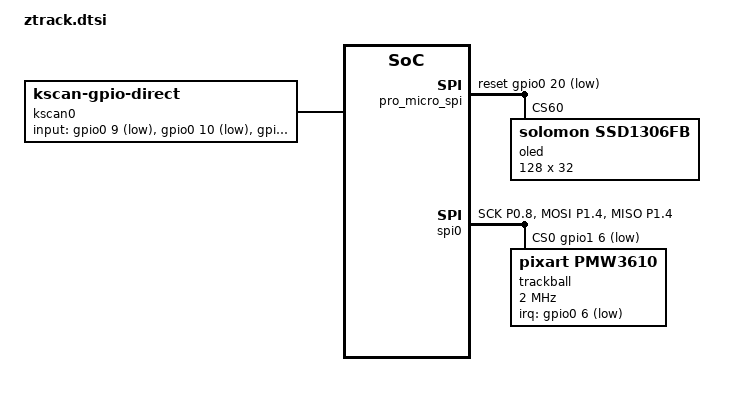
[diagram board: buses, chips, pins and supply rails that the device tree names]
/*&uart0 {
    status = "disabled";
};
*/

/*
&pro_micro_i2c {
	status = "okay";

	oled: ssd1306@3c {
		compatible = "solomon,ssd1306fb";
		reg = <0x3c>;
		width = <128>;
		height = <32>;
		segment-offset = <0>;
		page-offset = <0>;
		display-offset = <0>;
		multiplex-ratio = <31>;
		segment-remap;
		com-invdir;
		com-sequential;
		prechargep = <0x22>;
	};
};*/
&pinctrl {
    spi1_default: spi1_default {
        group1 {
            psels = <NRF_PSEL(SPIM_SCK, 0, 17)>,
                <NRF_PSEL(SPIM_MOSI, 0, 20)>,
                <NRF_PSEL(SPIM_MISO, 1, 20)>;
        };
    };

    spi1_sleep: spi1_sleep {
        group1 {
            psels = <NRF_PSEL(SPIM_SCK, 0, 17)>,
                <NRF_PSEL(SPIM_MOSI, 0, 20)>,
                <NRF_PSEL(SPIM_MISO, 0, 20)>;
            low-power-enable;
        };
    };
};


&pro_micro_spi {
	status = "okay";
    data-cmd-gpios = <&gpio0 17 GPIO_ACTIVE_HIGH>;
    reset-gpios = <&gpio0 20 GPIO_ACTIVE_LOW>;

	oled: ssd1306@3c {
		compatible = "solomon,ssd1306fb";
		reg = <0x3c>;
		width = <128>;
		height = <32>;
		segment-offset = <0>;
		page-offset = <0>;
		display-offset = <0>;
		multiplex-ratio = <31>;
		segment-remap;
		com-invdir;
		com-sequential;
		prechargep = <0x22>;

        //pinctrl-0 = <&spi1_default>;
        //pinctrl-1 = <&spi1_sleep>;
        //pinctrl-names = "default1", "sleep1";
	};
};


/ {
	chosen {
		zmk,kscan = &kscan0;
		zephyr,display = &oled;
	};

	kscan0: kscan_0 {
		compatible = "zmk,kscan-gpio-direct";
		wakeup-source;
		input-gpios
			= <&gpio0 9 (GPIO_ACTIVE_LOW | GPIO_PULL_UP)>
            , <&gpio0 10 (GPIO_ACTIVE_LOW | GPIO_PULL_UP)>
            , <&gpio1 11 (GPIO_ACTIVE_LOW | GPIO_PULL_UP)>
            , <&gpio0 13 GPIO_ACTIVE_LOW>
            ;
	};
};

&pinctrl {
    spi0_default: spi0_default {
        group1 {
            psels = <NRF_PSEL(SPIM_SCK, 0, 8)>,
                <NRF_PSEL(SPIM_MOSI, 1, 4)>,
                <NRF_PSEL(SPIM_MISO, 1, 4)>;
                //<NRF_PSEL(SPIM_MOSI, 0, 17)>,
                //<NRF_PSEL(SPIM_MISO, 0, 17)>;
        };
    };

    spi0_sleep: spi0_sleep {
        group1 {
            psels = <NRF_PSEL(SPIM_SCK, 0, 8)>,
                <NRF_PSEL(SPIM_MOSI, 1, 4)>,
                <NRF_PSEL(SPIM_MISO, 1, 4)>;
                //<NRF_PSEL(SPIM_MOSI, 0, 17)>,
                //<NRF_PSEL(SPIM_MISO, 0, 17)>;
            low-power-enable;
        };
    };
};

#include <zephyr/dt-bindings/input/input-event-codes.h>

&spi0 {
    status = "okay";
    compatible = "nordic,nrf-spim";
    pinctrl-0 = <&spi0_default>;
    pinctrl-1 = <&spi0_sleep>;
    pinctrl-names = "default", "sleep";
    //cs-gpios = <&gpio0 20 GPIO_ACTIVE_LOW>;
    cs-gpios = <&gpio1 6 GPIO_ACTIVE_LOW>;

    trackball: trackball@0 {
        status = "okay";
        compatible = "pixart,pmw3610";
        reg = <0>;
        spi-max-frequency = <2000000>;
        irq-gpios = <&gpio0 6 (GPIO_ACTIVE_LOW | GPIO_PULL_UP)>;
        cpi = <600>;
        // swap-xy; /* optional */
        // invert-x; /* optional */
        // invert-y; /* optional */
        evt-type = <INPUT_EV_REL>;
        x-input-code = <INPUT_REL_X>;
        y-input-code = <INPUT_REL_Y>;

        force-awake;
        /* keep the sensor awake while ZMK activity state is ACTIVE,
           fallback to normal downshift mode after ZMK goes into IDLE / SLEEP mode.
           thus, the sensor would be a `wakeup-source` */

        force-awake-4ms-mode;
        /* while force-awake is acitvated, enable this mode to force sampling per 
           4ms, where the default sampling rate is 8ms. */
        /* NOTE: apply this mode if you need 250Hz with direct USB connection. */
    };
};

/ {
  trackball_listener {
    compatible = "zmk,input-listener";
    device = <&trackball>;
  };
};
